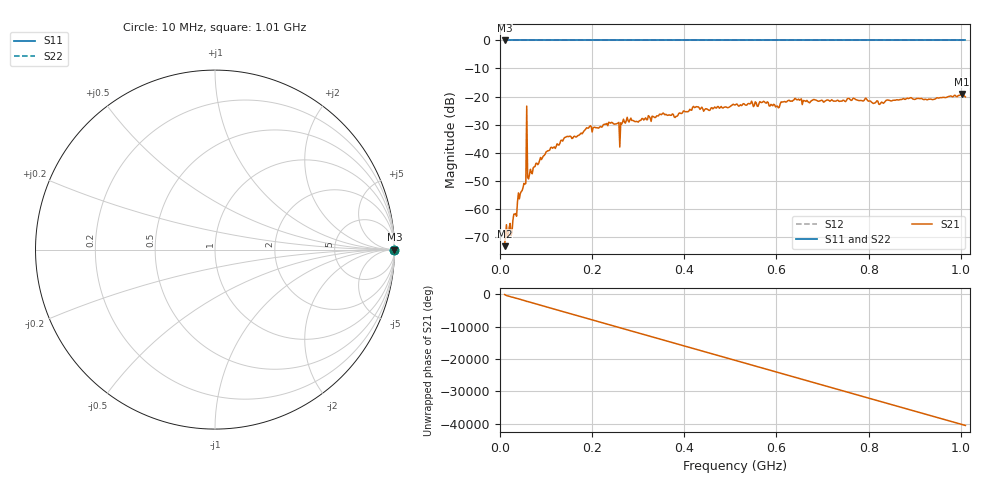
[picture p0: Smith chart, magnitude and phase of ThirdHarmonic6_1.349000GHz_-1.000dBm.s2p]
! 8/16/2025 3:10:48 PM
! C:\ANRITSUVNA\TEMP\TEMP.S2P
! CHANNEL.1
! TR.MEASUREMENT
! RAW.DATA
! RF.CORRECTION.OFF
! AVERAGING.OFF
! IF.BANDWIDTH: 5KHZ
! SWEEPTYPE:  FREQ.SWEEP(Linear)
! Reference Plane Port Info
! PORT:  PORT1  PORT2
! DISTANCE:  0  m  0  m
! TIME:  0  s  0  s
! PHASE.OFFSET:  0  deg.  0  deg.
! LOSS:  0  dB  0  dB
! REF.LOSS:  0  dB  0  dB
! REF.FREQ:  0  Hz  0  Hz
! Power Info
! POWER:  -20  dBm  -20  dBm
! EFF.POWER:  -20  dBm  -20  dBm
! SOURCE.ATTEN:  0  dB  0  dB
! TEST.ATTEN:  0  dB  0  dB
# GHZ S RI R 50.0
! FREQ.GHZ  S11RE  S11IM  S21RE  S21IM  S12RE  S12IM  S22RE  S22IM
!; PortSelection: Port_12
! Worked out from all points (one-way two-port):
!   501 points, 10 MHz to 1.01 GHz, reference 50 ohm
!   highest |S21| = -19.11 dB at 1.002 GHz (marker M1); lowest = -73.4 dB at 10 MHz (marker M2)
!   lowest |S11| = 0.0 dB at 10 MHz (marker M3)
!   |S11| at or under -10 dB: nowhere
!   |S22| runs from 0.0 to 0.0 dB; largest |S21 - S12| = 1.1
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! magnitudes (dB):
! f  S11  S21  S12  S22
! 10 MHz  0.0  -73.4  0.0  0.0
! 28 MHz  0.0  -64.1  0.0  0.0
! 42 MHz  0.0  -56.5  0.0  0.0
! 52 MHz  0.0  -50.9  0.0  0.0
! 54 MHz  0.0  -51.2  0.0  0.0
! 62 MHz  0.0  -49.4  0.0  0.0
! 64 MHz  0.0  -47.8  0.0  0.0
! 108 MHz  0.0  -39.1  0.0  0.0
! 178 MHz  0.0  -33.3  0.0  0.0
! 194 MHz  0.0  -30.8  0.0  0.0
! 240 MHz  0.0  -29.5  0.0  0.0
! 260 MHz  0.0  -38.0  0.0  0.0
! 272 MHz  0.0  -29.5  0.0  0.0
! 344 MHz  0.0  -26.9  0.0  0.0
! 510 MHz  0.0  -23.0  0.0  0.0
! 570 MHz  0.0  -22.0  0.0  0.0
! 602 MHz  0.0  -23.4  0.0  0.0
! 640 MHz  0.0  -20.6  0.0  0.0
! 678 MHz  0.0  -21.3  0.0  0.0
! 844 MHz  0.0  -21.3  0.0  0.0
! 1.002 GHz  0.0  -19.1  0.0  0.0
! 1.01 GHz  0.0  -20.1  0.0  0.0
